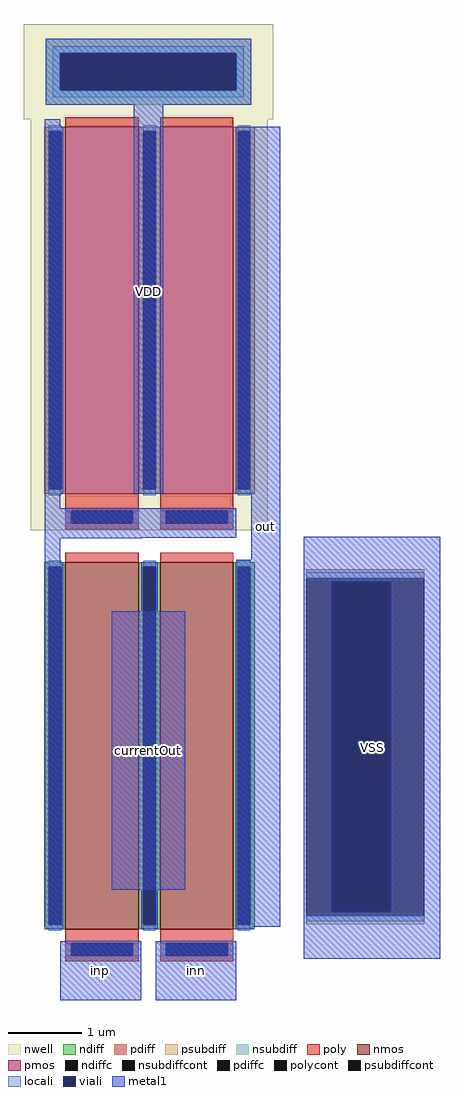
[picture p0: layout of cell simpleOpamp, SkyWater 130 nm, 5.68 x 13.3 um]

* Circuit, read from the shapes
.subckt simpleOpamp VDD inp inn currentOut VSS out
XM1 currentOut inp n1 VSS sky130_fd_pr__nfet_01v8 w=5 l=1
XM2 out inn currentOut VSS sky130_fd_pr__nfet_01v8 w=5 l=1
XM3 VDD n1 n1 VDD sky130_fd_pr__pfet_01v8 w=5 l=1
XM4 out n1 VDD VDD sky130_fd_pr__pfet_01v8 w=5 l=1
.ends

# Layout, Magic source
magic
tech sky130A
magscale 1 2
<< nwell >>
rect -20 1120 660 1380
<< psubdiff >>
rect 750 -130 1072 -106
rect 750 -1074 1072 -1050
<< nsubdiff >>
rect 40 1300 600 1340
rect 40 1200 80 1300
rect 560 1200 600 1300
rect 40 1160 600 1200
<< psubdiffcont >>
rect 750 -1050 1072 -130
<< nsubdiffcont >>
rect 80 1200 560 1300
<< locali >>
rect 60 1300 580 1320
rect 60 1200 80 1300
rect 560 1200 580 1300
rect 60 1180 580 1200
rect 750 -130 1072 -114
rect 750 -1066 1072 -1050
<< viali >>
rect 80 1200 560 1300
rect 820 -1040 980 -140
<< metal1 >>
rect 40 1300 600 1340
rect 40 1200 80 1300
rect 560 1200 600 1300
rect 40 1160 600 1200
rect 38 60 80 1120
rect 280 100 360 1160
rect 560 100 680 1100
rect 38 -20 560 60
rect 38 -22 302 -20
rect 38 -1080 80 -22
rect 600 -80 680 100
rect 220 -980 420 -220
rect 560 -1080 680 -80
rect 744 -140 1116 -18
rect 744 -1040 820 -140
rect 980 -1040 1116 -140
rect 80 -1280 300 -1120
rect 340 -1280 560 -1120
rect 744 -1168 1116 -1040
use sky130_fd_pr__nfet_01v8_TFM3AL  sky130_fd_pr__nfet_01v8_TFM3AL_0
transform 1 0 452 0 1 -618
box -158 -557 158 557
use sky130_fd_pr__nfet_01v8_TFM3AL  sky130_fd_pr__nfet_01v8_TFM3AL_1
transform 1 0 194 0 1 -618
box -158 -557 158 557
use sky130_fd_pr__pfet_01v8_8GUTWW  sky130_fd_pr__pfet_01v8_8GUTWW_0
transform 1 0 452 0 1 564
box -194 -564 194 598
use sky130_fd_pr__pfet_01v8_8GUTWW  sky130_fd_pr__pfet_01v8_8GUTWW_1
transform 1 0 194 0 1 564
box -194 -564 194 598
<< labels >>
flabel metal1 220 -980 420 -220 0 FreeSans 160 0 0 0 currentOut
port 5 nsew
flabel metal1 744 -1168 1116 -18 0 FreeSans 160 0 0 0 VSS
port 6 nsew
flabel metal1 280 100 360 1200 0 FreeSans 160 0 0 0 VDD
port 2 nsew
flabel metal1 80 -1280 300 -1120 0 FreeSans 160 0 0 0 inp
port 3 nsew
flabel metal1 340 -1280 560 -1120 0 FreeSans 160 0 0 0 inn
port 4 nsew
flabel metal1 600 -1080 680 1100 0 FreeSans 160 0 0 0 out
port 7 nsew
<< end >>

# cell sky130_fd_pr__nfet_01v8_TFM3AL: kit device sky130_fd_pr__nfet_01v8, w 5 l 1 m 1 nf 1 diffcov 100 polycov 100 guard 0 glc 0 grc 0 gtc 0 gbc 0 tbcov 100 rlcov 100 topc 0 botc 1 poverlap 0 doverlap 0 lmin 0.15 wmin 0.42 compatible {sky130_fd_pr__nfet_01v8 sky130_fd_pr__nfet_01v8_lvt sky130_fd_bs_flash__special_sonosfet_star sky130_fd_pr__nfet_g5v0d10v5 sky130_fd_pr__nfet_05v0_nvt sky130_fd_pr__nfet_03v3_nvt} full_metal 0 viasrc 100 viadrn 100 viagate 100 viagb 0 viagr 0 viagl 0 viagt 0

# cell sky130_fd_pr__pfet_01v8_8GUTWW: kit device sky130_fd_pr__pfet_01v8, w 5 l 1 m 1 nf 1 diffcov 100 polycov 100 guard 0 glc 0 grc 0 gtc 0 gbc 0 tbcov 100 rlcov 100 topc 0 botc 1 poverlap 0 doverlap 0 lmin 0.15 wmin 0.42 compatible {sky130_fd_pr__pfet_01v8 sky130_fd_pr__pfet_01v8_lvt sky130_fd_pr__pfet_01v8_hvt sky130_fd_pr__pfet_g5v0d10v5} full_metal 0 viasrc 100 viadrn 100 viagate 100 viagb 0 viagr 0 viagl 0 viagt 0
